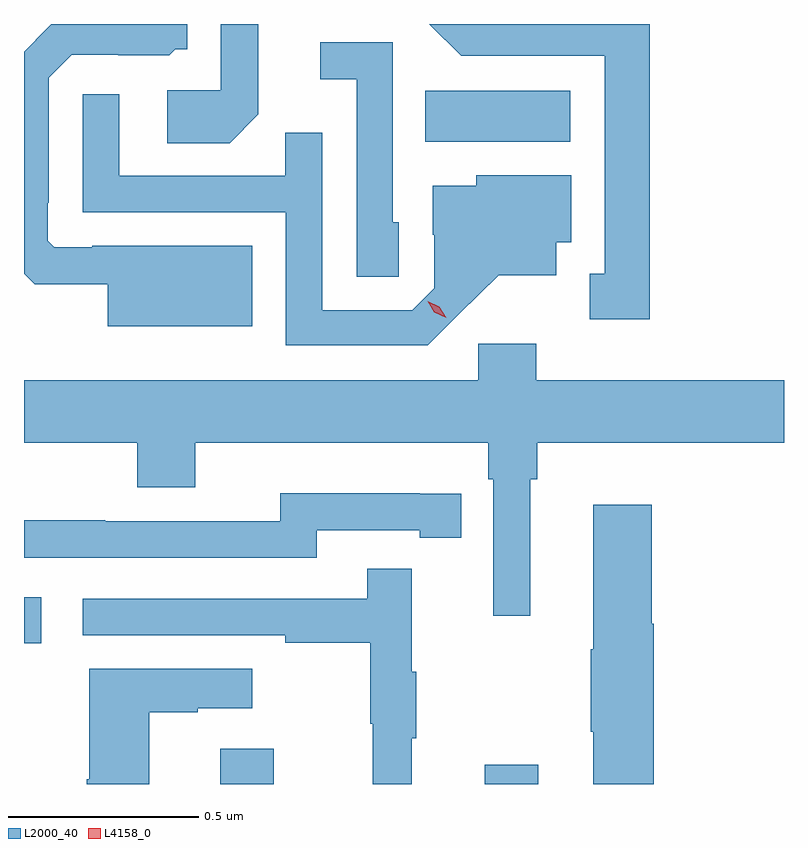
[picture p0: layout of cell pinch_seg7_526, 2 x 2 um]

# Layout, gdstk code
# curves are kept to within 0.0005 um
import gdstk
lib = gdstk.Library(unit=1e-6, precision=1e-09)
def R(c, l, rs):  # rectangles x0, y0, x1, y1
    for r in rs: c.add(gdstk.rectangle(r[:2], r[2:], *l))
def P(c, l, *ps):  # polygons
    for p in ps: c.add(gdstk.Polygon(p, *l))
L2000_40 = (2000, 40)
L4158_0 = (4158, 0)

pinch_seg7_526 = lib.new_cell('pinch_seg7_526')
R(pinch_seg7_526, L2000_40, [(127.505,1072.978,127.645,1073.071), (128.201,1072.978,128.341,1073.029), (126.988,1073.349,127.033,1073.47), (128.044,1074.668,128.425,1074.802)])
P(pinch_seg7_526, L2000_40, [(127.588,1074.394),(127.168,1074.394),(127.168,1074.39),(127.068,1074.39),(127.05,1074.408),(127.05,1074.508),(127.053,1074.508),(127.053,1074.837),(127.113,1074.897),(127.236,1074.897),(127.236,1074.896),(127.37,1074.896),(127.386,1074.912),(127.417,1074.912),(127.417,1074.978),(127.06,1074.978),(126.988,1074.905),(126.988,1074.321),(127.016,1074.293),(127.208,1074.293),(127.208,1074.182),(127.588,1074.182)],
  [(128.635,1074.978),(128.055,1074.978),(128.139,1074.894),(128.516,1074.894),(128.516,1074.321),(128.477,1074.321),(128.477,1074.201),(128.635,1074.201)],
  [(127.605,1074.74),(127.605,1074.978),(127.506,1074.978),(127.506,1074.804),(127.365,1074.804),(127.365,1074.664),(127.529,1074.664)],
  [(127.974,1074.456),(127.959,1074.456),(127.959,1074.93),(127.767,1074.93),(127.767,1074.833),(127.863,1074.833),(127.863,1074.313),(127.974,1074.313)],
  [(128.134,1074.215),(128.237,1074.317),(128.389,1074.317),(128.389,1074.404),(128.428,1074.404),(128.428,1074.58),(128.178,1074.58),(128.178,1074.553),(128.063,1074.553),(128.063,1074.424),(128.067,1074.424),(128.067,1074.282),(128.01,1074.225),(127.773,1074.225),(127.773,1074.692),(127.675,1074.692),(127.675,1074.579),(127.239,1074.579),(127.239,1074.793),(127.143,1074.793),(127.143,1074.483),(127.677,1074.483),(127.677,1074.132),(128.05,1074.132)],
  [(128.32,1073.78),(128.339,1073.78),(128.339,1073.876),(128.988,1073.876),(128.988,1074.04),(128.336,1074.04),(128.336,1074.136),(128.184,1074.136),(128.184,1074.04),(126.988,1074.04),(126.988,1073.876),(127.286,1073.876),(127.286,1073.759),(127.438,1073.759),(127.438,1073.876),(128.21,1073.876),(128.21,1073.78),(128.223,1073.78),(128.223,1073.421),(128.32,1073.421)],
  [(127.758,1073.646),(128.03,1073.646),(128.03,1073.626),(128.138,1073.626),(128.138,1073.742),(128.03,1073.742),(128.03,1073.743),(127.662,1073.743),(127.662,1073.67),(127.202,1073.67),(127.202,1073.672),(126.988,1073.672),(126.988,1073.574),(127.758,1073.574)],
  [(128.645,1073.4),(128.64,1073.4),(128.64,1073.713),(128.486,1073.713),(128.486,1073.333),(128.479,1073.333),(128.479,1073.116),(128.486,1073.116),(128.486,1072.978),(128.645,1072.978)],
  [(128.009,1073.099),(128.02,1073.099),(128.02,1073.273),(128.009,1073.273),(128.009,1073.545),(127.891,1073.545),(127.891,1073.466),(127.143,1073.466),(127.143,1073.37),(127.675,1073.37),(127.675,1073.35),(127.899,1073.35),(127.899,1073.136),(127.906,1073.136),(127.906,1072.978),(128.009,1072.978)],
  [(127.318,1073.167),(127.445,1073.167),(127.445,1073.177),(127.588,1073.177),(127.588,1073.281),(127.16,1073.281),(127.16,1072.99),(127.153,1072.99),(127.153,1072.978),(127.318,1072.978)])
P(pinch_seg7_526, L4158_0, [(128.099,1074.205),(128.068,1074.219),(128.05,1074.249),(128.05,1074.249),(128.05,1074.249),(128.081,1074.234),(128.099,1074.205),(128.099,1074.205)])

lib.write_gds('pinch_seg7_526.gds')
